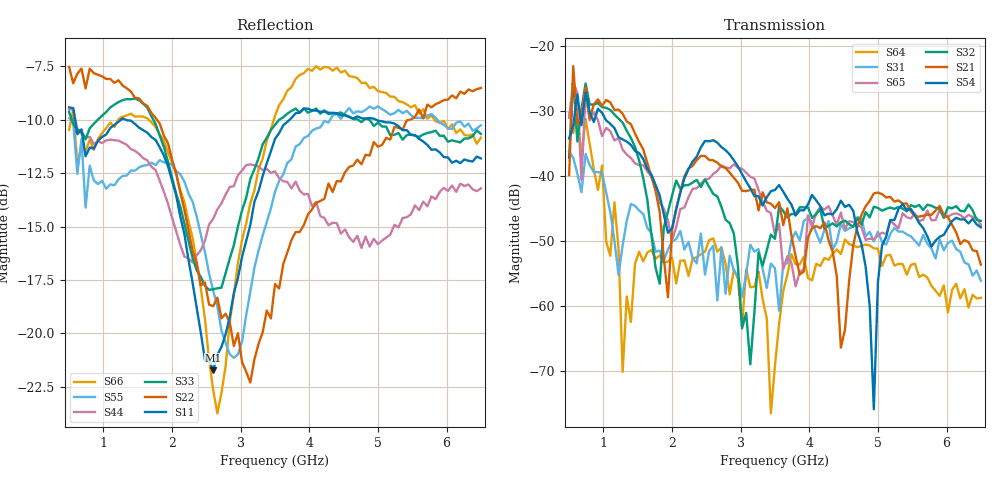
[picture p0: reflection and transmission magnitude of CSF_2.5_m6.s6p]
!Keysight Technologies,M9804A,MY58100912,A.14.10.03
!Date: Thursday, April 27, 2023 10:28:33
!Correction: S11(C  6-Port  )
!S12(C  6-Port  )
!S13(C  6-Port  )
!S14(C  6-Port  )
!S15(C  6-Port  )
!S16(C  6-Port  )
!S21(C  6-Port  )
!S22(C  6-Port  )
!S23(C  6-Port  )
!S24(C  6-Port  )
!S25(C  6-Port  )
!S26(C  6-Port  )
!S31(C  6-Port  )
!S32(C  6-Port  )
!S33(C  6-Port  )
!S34(C  6-Port  )
!S35(C  6-Port  )
!S36(C  6-Port  )
!S41(C  6-Port  )
!S42(C  6-Port  )
!S43(C  6-Port  )
!S44(C  6-Port  )
!S45(C  6-Port  )
!S46(C  6-Port  )
!S51(C  6-Port  )
!S52(C  6-Port  )
!S53(C  6-Port  )
!S54(C  6-Port  )
!S55(C  6-Port  )
!S56(C  6-Port  )
!S61(C  6-Port  )
!S62(C  6-Port  )
!S63(C  6-Port  )
!S64(C  6-Port  )
!S65(C  6-Port  )
!S66(C  6-Port  )
!S6P File: Measurement: :
# Hz S  RI  R 50
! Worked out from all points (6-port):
!   101 points, 500 MHz to 6.5 GHz, reference 50 ohm
!   strongest paths, dB at 500 MHz, 2 GHz, 3.5 GHz, 5 GHz, 6.5 GHz:
!     S54: -34.2, -48.0, -42.1, -56.3, -47.9
!     S21: -39.9, -48.3, -44.9, -42.5, -53.7
!     S32: -37.2, -43.0, -49.7, -44.9, -46.9
!     S65: -31.0, -49.9, -49.1, -49.2, -47.5
!     S31: -36.2, -50.1, -54.2, -48.6, -56.1
!     S64: -30.2, -52.6, -69.1, -51.2, -58.8
!   lowest |S11| = -21.7 dB at 2.6 GHz (marker M1), VSWR 1.18, Z = 42.7 + j1.96 ohm
!   |S11| at or under -10 dB: 586.3 MHz to 1.259 GHz (673.2 MHz wide, 72.9 % of centre); 1.317 GHz to 3.716 GHz (2.4 GHz wide, 95.4 % of centre); 4.968 GHz to end of sweep
